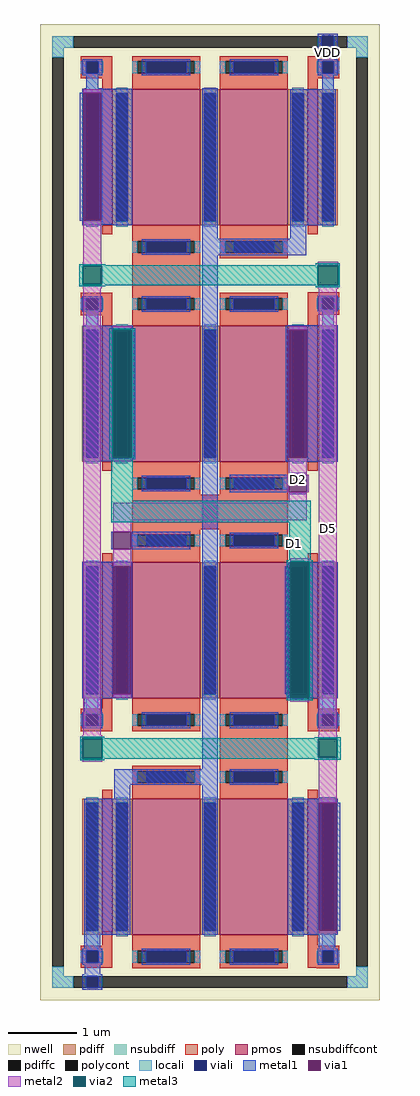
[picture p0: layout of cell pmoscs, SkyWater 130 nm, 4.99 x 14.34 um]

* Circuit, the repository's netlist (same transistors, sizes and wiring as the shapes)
** sch_path: /home/bagatraya/icpolytron/opamp/mag/pmoscs.sch
.subckt pmoscs VDD D5 D2 D1
*.PININFO VDD:B D5:B D2:B D1:B
XM2 D2 D2 VDD VDD sky130_fd_pr__pfet_01v8 L=1 W=2 nf=1 m=2
XM1 D1 D2 VDD VDD sky130_fd_pr__pfet_01v8 L=1 W=2 nf=1 m=2
XM5 D5 D2 VDD VDD sky130_fd_pr__pfet_01v8 L=1 W=2 nf=1 m=2
XM3 D5 D5 D5 VDD sky130_fd_pr__pfet_01v8 L=0.15 W=2 nf=1 m=2
XM4 D1 D1 D1 VDD sky130_fd_pr__pfet_01v8 L=0.15 W=2 nf=1 m=2
XM6 D2 D2 D2 VDD sky130_fd_pr__pfet_01v8 L=0.15 W=2 nf=1 m=2
XM7 VDD VDD VDD VDD sky130_fd_pr__pfet_01v8 L=0.15 W=2 nf=1 m=2
XM8 VDD VDD VDD VDD sky130_fd_pr__pfet_01v8 L=1 W=2 nf=1 m=2
.ends
.end

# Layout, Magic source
magic
tech sky130A
magscale 1 2
<< nwell >>
rect 34 -480 1032 2387
<< nsubdiff >>
rect 70 2317 132 2351
rect 936 2317 996 2351
rect 70 2289 104 2317
rect 962 2289 996 2317
rect 70 -410 104 -382
rect 962 -410 996 -382
rect 70 -444 132 -410
rect 936 -444 996 -410
<< nsubdiffcont >>
rect 132 2317 936 2351
rect 70 -382 104 2289
rect 962 -382 996 2289
rect 132 -444 936 -410
<< poly >>
rect 154 2277 246 2293
rect 154 2243 170 2277
rect 204 2243 246 2277
rect 154 2227 246 2243
rect 216 2196 246 2227
rect 820 2277 912 2293
rect 820 2243 862 2277
rect 896 2243 912 2277
rect 820 2227 912 2243
rect 820 2196 850 2227
rect 304 1598 504 1699
rect 154 1582 246 1598
rect 154 1548 170 1582
rect 204 1548 246 1582
rect 154 1532 246 1548
rect 216 1501 246 1532
rect 820 1583 912 1599
rect 820 1549 862 1583
rect 896 1549 912 1583
rect 820 1533 912 1549
rect 820 1502 850 1533
rect 304 903 762 1004
rect 216 375 246 406
rect 154 359 246 375
rect 154 325 170 359
rect 204 325 246 359
rect 154 309 246 325
rect 820 375 850 406
rect 820 359 912 375
rect 820 325 862 359
rect 896 325 912 359
rect 820 309 912 325
rect 562 208 762 309
rect 216 -320 246 -278
rect 154 -336 246 -320
rect 154 -370 170 -336
rect 204 -370 246 -336
rect 154 -385 246 -370
rect 820 -320 850 -289
rect 820 -336 912 -320
rect 820 -370 862 -336
rect 896 -370 912 -336
rect 820 -385 912 -370
rect 846 -386 912 -385
<< polycont >>
rect 170 2243 204 2277
rect 862 2243 896 2277
rect 170 1548 204 1582
rect 862 1549 896 1583
rect 170 325 204 359
rect 862 325 896 359
rect 170 -370 204 -336
rect 862 -370 896 -336
<< locali >>
rect 70 2317 132 2351
rect 936 2317 996 2351
rect 70 2289 104 2317
rect 962 2289 996 2317
rect 154 2243 170 2277
rect 204 2243 220 2277
rect 846 2243 862 2277
rect 896 2243 912 2277
rect 170 2196 204 2243
rect 862 2200 896 2243
rect 158 1796 218 2196
rect 154 1548 170 1582
rect 204 1548 220 1582
rect 846 1549 862 1583
rect 896 1549 912 1583
rect 170 1502 204 1548
rect 862 1502 896 1549
rect 160 1102 212 1502
rect 246 1102 306 1502
rect 766 1102 818 1502
rect 854 1102 906 1502
rect 160 408 212 808
rect 250 408 302 808
rect 768 408 820 808
rect 170 359 204 408
rect 862 359 896 418
rect 154 325 170 359
rect 204 325 220 359
rect 846 325 862 359
rect 896 325 912 359
rect 170 -336 204 -277
rect 850 -288 902 112
rect 862 -336 896 -288
rect 154 -370 170 -336
rect 204 -370 220 -336
rect 846 -370 862 -336
rect 896 -370 912 -336
rect 70 -410 104 -382
rect 962 -410 996 -382
rect 70 -444 132 -410
rect 936 -444 996 -410
<< viali >>
rect 861 2351 896 2352
rect 861 2317 896 2351
rect 170 2243 204 2277
rect 862 2243 896 2277
rect 170 1548 204 1582
rect 862 1549 896 1583
rect 170 325 204 359
rect 862 325 896 359
rect 170 -370 204 -336
rect 862 -370 896 -336
rect 170 -444 204 -410
<< metal1 >>
rect 849 2352 908 2358
rect 849 2317 861 2352
rect 896 2317 908 2352
rect 849 2311 908 2317
rect 862 2283 896 2311
rect 158 2277 216 2283
rect 158 2243 170 2277
rect 204 2243 216 2277
rect 158 2237 216 2243
rect 850 2277 908 2283
rect 850 2243 862 2277
rect 896 2243 908 2277
rect 850 2237 908 2243
rect 170 2198 204 2237
rect 165 2197 216 2198
rect 158 2185 304 2197
rect 151 1809 161 2185
rect 213 1809 304 2185
rect 158 1797 304 1809
rect 510 1756 556 2198
rect 862 2196 896 2237
rect 768 1796 902 2196
rect 768 1756 816 1796
rect 510 1708 816 1756
rect 158 1582 216 1588
rect 158 1548 170 1582
rect 204 1548 216 1582
rect 158 1542 216 1548
rect 170 1501 204 1542
rect 159 1488 306 1500
rect 159 1112 248 1488
rect 300 1112 310 1488
rect 159 1102 306 1112
rect 243 844 249 896
rect 301 844 475 896
rect 158 794 305 808
rect 158 418 249 794
rect 301 418 305 794
rect 158 407 305 418
rect 163 406 215 407
rect 248 406 304 407
rect 164 365 215 406
rect 158 359 216 365
rect 158 325 170 359
rect 204 325 216 359
rect 158 319 216 325
rect 510 198 556 1708
rect 850 1583 908 1589
rect 850 1549 862 1583
rect 896 1549 908 1583
rect 850 1543 908 1549
rect 862 1502 896 1543
rect 762 1501 908 1502
rect 756 1489 908 1501
rect 755 1113 765 1489
rect 817 1113 908 1489
rect 756 1101 908 1113
rect 765 1063 817 1069
rect 591 1011 765 1063
rect 765 1005 817 1011
rect 850 806 901 807
rect 761 794 908 806
rect 754 418 764 794
rect 816 418 908 794
rect 761 407 908 418
rect 850 406 904 407
rect 851 365 904 406
rect 850 359 908 365
rect 850 325 862 359
rect 896 325 908 359
rect 850 319 908 325
rect 252 152 556 198
rect 252 111 298 152
rect 164 -289 298 111
rect 510 -289 556 152
rect 853 111 901 115
rect 762 100 908 111
rect 762 -276 853 100
rect 905 -276 915 100
rect 762 -289 908 -276
rect 164 -330 210 -289
rect 853 -330 901 -289
rect 158 -336 216 -330
rect 158 -370 170 -336
rect 204 -370 216 -336
rect 158 -376 216 -370
rect 850 -336 908 -330
rect 850 -370 862 -336
rect 896 -370 908 -336
rect 850 -376 908 -370
rect 165 -404 210 -376
rect 158 -410 216 -404
rect 158 -444 170 -410
rect 204 -444 216 -410
rect 158 -450 216 -444
<< via1 >>
rect 161 1809 213 2185
rect 248 1112 300 1488
rect 249 844 301 896
rect 249 418 301 794
rect 765 1113 817 1489
rect 765 1011 817 1063
rect 764 418 816 794
rect 853 -276 905 100
<< metal2 >>
rect 161 2185 213 2195
rect 161 1687 213 1809
rect 159 1677 215 1687
rect 159 1611 215 1621
rect 849 1679 909 1688
rect 160 298 212 1611
rect 849 1610 909 1619
rect 247 1489 303 1499
rect 247 1112 248 1113
rect 300 1112 303 1113
rect 247 1103 303 1112
rect 765 1489 817 1499
rect 248 1102 300 1103
rect 765 1063 817 1113
rect 759 1011 765 1063
rect 817 1011 823 1063
rect 765 981 817 1011
rect 249 929 817 981
rect 249 896 301 929
rect 249 794 301 844
rect 768 807 825 817
rect 249 408 301 418
rect 764 794 768 804
rect 764 408 768 418
rect 768 396 825 406
rect 157 289 217 298
rect 853 297 905 1610
rect 157 220 217 229
rect 851 287 907 297
rect 851 221 907 231
rect 853 100 905 221
rect 853 -284 905 -276
<< via2 >>
rect 159 1621 215 1677
rect 849 1619 909 1679
rect 247 1488 303 1489
rect 247 1113 248 1488
rect 248 1113 300 1488
rect 300 1113 303 1488
rect 768 794 825 807
rect 768 418 816 794
rect 816 418 825 794
rect 768 406 825 418
rect 157 229 217 289
rect 851 231 907 287
<< metal3 >>
rect 149 1679 225 1682
rect 844 1679 914 1684
rect 149 1677 849 1679
rect 149 1621 159 1677
rect 215 1621 849 1677
rect 149 1619 849 1621
rect 909 1619 914 1679
rect 149 1616 225 1619
rect 844 1614 914 1619
rect 237 1489 313 1494
rect 237 1113 247 1489
rect 303 1113 313 1489
rect 237 1108 313 1113
rect 243 987 306 1108
rect 243 924 829 987
rect 766 812 829 924
rect 758 807 835 812
rect 758 406 768 807
rect 825 406 835 807
rect 758 401 835 406
rect 152 289 222 294
rect 841 289 917 292
rect 152 229 157 289
rect 217 287 917 289
rect 217 231 851 287
rect 907 231 917 287
rect 217 229 917 231
rect 152 224 222 229
rect 841 226 917 229
use sky130_fd_pr__pfet_01v8_2ZH9AN  sky130_fd_pr__pfet_01v8_2ZH9AN_0
transform 1 0 231 0 1 606
box -109 -262 109 262
use sky130_fd_pr__pfet_01v8_2ZH9AN  sky130_fd_pr__pfet_01v8_2ZH9AN_1
transform 1 0 231 0 1 -89
box -109 -262 109 262
use sky130_fd_pr__pfet_01v8_2ZH9AN  sky130_fd_pr__pfet_01v8_2ZH9AN_2
transform 1 0 835 0 1 -89
box -109 -262 109 262
use sky130_fd_pr__pfet_01v8_2ZH9AN  sky130_fd_pr__pfet_01v8_2ZH9AN_3
transform 1 0 835 0 1 606
box -109 -262 109 262
use sky130_fd_pr__pfet_01v8_2ZH9AN  sky130_fd_pr__pfet_01v8_2ZH9AN_4
transform 1 0 835 0 1 1301
box -109 -262 109 262
use sky130_fd_pr__pfet_01v8_2ZH9AN  sky130_fd_pr__pfet_01v8_2ZH9AN_5
transform 1 0 835 0 1 1996
box -109 -262 109 262
use sky130_fd_pr__pfet_01v8_2ZH9AN  sky130_fd_pr__pfet_01v8_2ZH9AN_6
transform 1 0 231 0 1 1996
box -109 -262 109 262
use sky130_fd_pr__pfet_01v8_2ZH9AN  sky130_fd_pr__pfet_01v8_2ZH9AN_7
transform 1 0 231 0 1 1301
box -109 -262 109 262
use sky130_fd_pr__pfet_01v8_SDE6B7  sky130_fd_pr__pfet_01v8_SDE6B7_0
transform 1 0 533 0 1 1996
box -323 -300 323 300
use sky130_fd_pr__pfet_01v8_SDE6B7  sky130_fd_pr__pfet_01v8_SDE6B7_1
transform 1 0 533 0 1 1301
box -323 -300 323 300
use sky130_fd_pr__pfet_01v8_SDE6B7  sky130_fd_pr__pfet_01v8_SDE6B7_2
transform 1 0 533 0 1 606
box -323 -300 323 300
use sky130_fd_pr__pfet_01v8_SDE6B7  sky130_fd_pr__pfet_01v8_SDE6B7_3
transform 1 0 533 0 1 -89
box -323 -300 323 300
<< labels >>
flabel metal3 782 862 782 862 0 FreeSans 800 0 0 0 D1
port 2 nsew
flabel metal1 878 2302 878 2302 0 FreeSans 800 0 0 0 VDD
port 4 nsew
flabel via1 792 1048 792 1048 0 FreeSans 800 0 0 0 D2
port 1 nsew
flabel metal2 880 904 880 904 0 FreeSans 800 0 0 0 D5
port 0 nsew
<< end >>

# cell sky130_fd_pr__pfet_01v8_2ZH9AN: kit device sky130_fd_pr__pfet_01v8, w 2 l 0.15 m 1 nf 1 diffcov 100 polycov 100 guard 0 glc 1 grc 1 gtc 1 gbc 1 tbcov 100 rlcov 100 topc 0 botc 0 poverlap 0 doverlap 1 lmin 0.15 wmin 0.42 compatible {sky130_fd_pr__pfet_01v8 sky130_fd_pr__pfet_01v8_lvt sky130_fd_pr__pfet_01v8_hvt sky130_fd_pr__pfet_g5v0d10v5} full_metal 1 viasrc 100 viadrn 100 viagate 100 viagb 0 viagr 0 viagl 0 viagt 0

# cell sky130_fd_pr__pfet_01v8_SDE6B7: kit device sky130_fd_pr__pfet_01v8, w 2 l 1 m 1 nf 2 diffcov 100 polycov 100 guard 0 glc 1 grc 1 gtc 1 gbc 1 tbcov 100 rlcov 100 topc 1 botc 1 poverlap 0 doverlap 1 lmin 0.15 wmin 0.42 compatible {sky130_fd_pr__pfet_01v8 sky130_fd_pr__pfet_01v8_lvt sky130_fd_pr__pfet_01v8_hvt sky130_fd_pr__pfet_g5v0d10v5} full_metal 1 viasrc 100 viadrn 100 viagate 70 viagb 0 viagr 0 viagl 0 viagt 0
